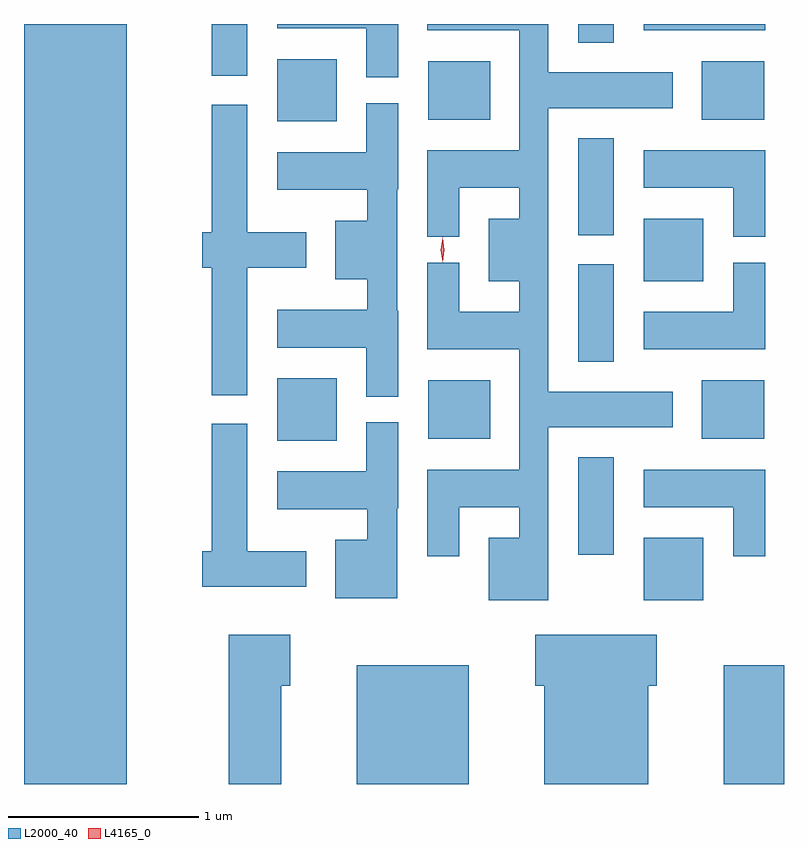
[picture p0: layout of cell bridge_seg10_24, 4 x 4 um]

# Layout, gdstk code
import gdstk
lib = gdstk.Library(unit=1e-6, precision=1e-09)
def R(c, l, rs):  # rectangles x0, y0, x1, y1
    for r in rs: c.add(gdstk.rectangle(r[:2], r[2:], *l))
def P(c, l, *ps):  # polygons
    for p in ps: c.add(gdstk.Polygon(p, *l))
L2000_40 = (2000, 40)
L4165_0 = (4165, 0)

bridge_seg10_24 = lib.new_cell('bridge_seg10_24')
R(bridge_seg10_24, L2000_40, [(1785.459,2152.919,1785.999,2156.919), (1787.211,2152.919,1787.799,2153.544), (1789.141,2152.919,1789.459,2153.544), (1788.721,2153.886,1789.034,2154.214), (1788.376,2154.126,1788.564,2154.639), (1786.791,2154.726,1787.104,2155.054), (1787.586,2154.736,1787.914,2155.044), (1789.026,2154.736,1789.354,2155.044), (1788.376,2155.141,1788.564,2155.654), (1788.721,2155.566,1789.034,2155.894), (1788.376,2155.806,1788.564,2156.319), (1786.791,2156.406,1787.104,2156.734), (1787.586,2156.416,1787.914,2156.724), (1789.026,2156.416,1789.354,2156.724), (1786.446,2156.646,1786.634,2156.919), (1788.376,2156.821,1788.564,2156.919), (1788.721,2156.886,1789.359,2156.919)])
P(bridge_seg10_24, L2000_40, [(1788.219,2154.796),(1788.874,2154.796),(1788.874,2154.984),(1788.219,2154.984),(1788.219,2156.476),(1788.874,2156.476),(1788.874,2156.664),(1788.219,2156.664),(1788.219,2156.919),(1787.581,2156.919),(1787.581,2156.886),(1788.066,2156.886),(1788.066,2156.254),(1787.581,2156.254),(1787.581,2155.798),(1787.749,2155.798),(1787.749,2156.056),(1788.066,2156.056),(1788.066,2155.894),(1787.906,2155.894),(1787.906,2155.566),(1788.066,2155.566),(1788.066,2155.404),(1787.749,2155.404),(1787.749,2155.663),(1787.581,2155.663),(1787.581,2155.206),(1788.066,2155.206),(1788.066,2154.574),(1787.581,2154.574),(1787.581,2154.118),(1787.749,2154.118),(1787.749,2154.376),(1788.066,2154.376),(1788.066,2154.214),(1787.906,2154.214),(1787.906,2153.886),(1788.219,2153.886)],
  [(1787.429,2156.919),(1786.791,2156.919),(1786.791,2156.896),(1787.261,2156.896),(1787.261,2156.638),(1787.429,2156.638)],
  [(1787.429,2155.41),(1787.424,2155.41),(1787.424,2156.05),(1787.429,2156.05),(1787.429,2156.503),(1787.261,2156.503),(1787.261,2156.244),(1786.791,2156.244),(1786.791,2156.046),(1787.266,2156.046),(1787.266,2155.884),(1787.096,2155.884),(1787.096,2155.576),(1787.266,2155.576),(1787.266,2155.414),(1786.791,2155.414),(1786.791,2155.216),(1787.261,2155.216),(1787.261,2154.958),(1787.429,2154.958)],
  [(1786.634,2155.636),(1786.944,2155.636),(1786.944,2155.824),(1786.634,2155.824),(1786.634,2156.494),(1786.446,2156.494),(1786.446,2155.824),(1786.396,2155.824),(1786.396,2155.636),(1786.446,2155.636),(1786.446,2154.966),(1786.634,2154.966)],
  [(1789.359,2156.254),(1788.721,2156.254),(1788.721,2156.056),(1789.191,2156.056),(1789.191,2155.798),(1789.359,2155.798)],
  [(1789.359,2155.663),(1789.191,2155.663),(1789.191,2155.404),(1788.721,2155.404),(1788.721,2155.206),(1789.359,2155.206)],
  [(1787.424,2154.37),(1787.429,2154.37),(1787.429,2154.823),(1787.261,2154.823),(1787.261,2154.564),(1786.791,2154.564),(1786.791,2154.366),(1787.266,2154.366),(1787.266,2154.204),(1787.096,2154.204),(1787.096,2153.896),(1787.424,2153.896)],
  [(1786.944,2154.144),(1786.634,2154.144),(1786.634,2154.814),(1786.446,2154.814),(1786.446,2154.144),(1786.396,2154.144),(1786.396,2153.956),(1786.944,2153.956)],
  [(1789.359,2154.574),(1788.721,2154.574),(1788.721,2154.376),(1789.191,2154.376),(1789.191,2154.118),(1789.359,2154.118)],
  [(1786.814,2153.436),(1786.859,2153.436),(1786.859,2153.704),(1786.536,2153.704),(1786.536,2152.919),(1786.814,2152.919)],
  [(1788.744,2153.436),(1788.789,2153.436),(1788.789,2153.704),(1788.151,2153.704),(1788.151,2153.436),(1788.196,2153.436),(1788.196,2152.919),(1788.744,2152.919)])
P(bridge_seg10_24, L4165_0, [(1787.662,2155.664),(1787.662,2155.665),(1787.652,2155.73),(1787.662,2155.795),(1787.662,2155.796),(1787.663,2155.795),(1787.672,2155.73),(1787.663,2155.665)],
  [(1787.662,2155.667),(1787.662,2155.668),(1787.652,2155.73),(1787.662,2155.792),(1787.662,2155.793),(1787.663,2155.792),(1787.672,2155.73),(1787.663,2155.668)])

lib.write_gds('bridge_seg10_24.gds')
